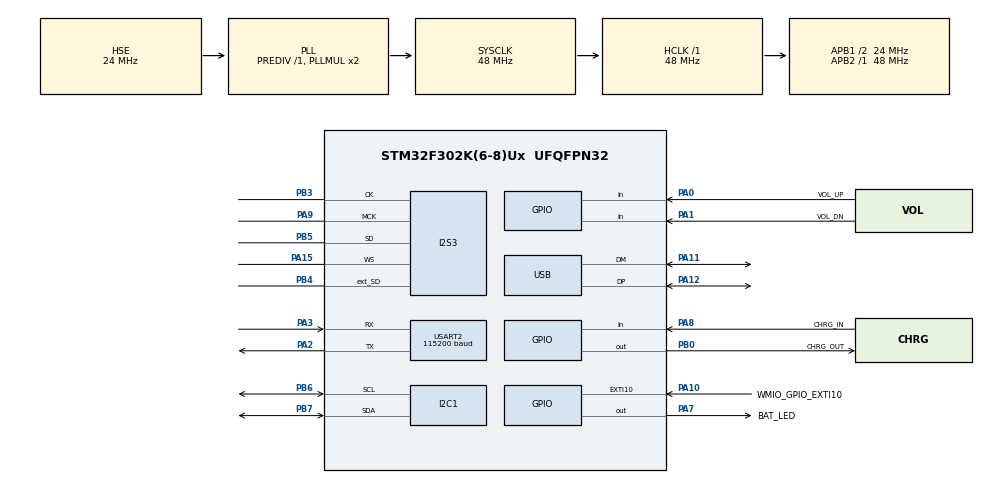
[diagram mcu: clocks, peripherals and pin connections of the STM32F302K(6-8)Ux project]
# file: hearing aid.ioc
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Dma.Request0=SPI3_RX
Dma.Request1=SPI3_TX
Dma.SPI3_RX.0.Direction=DMA_PERIPH_TO_MEMORY
Dma.SPI3_RX.0.Instance=DMA1_Channel2
Dma.SPI3_RX.0.MemDataAlignment=DMA_MDATAALIGN_WORD
Dma.SPI3_RX.0.MemInc=DMA_MINC_ENABLE
Dma.SPI3_RX.0.Mode=DMA_NORMAL
Dma.SPI3_RX.0.PeriphDataAlignment=DMA_PDATAALIGN_WORD
Dma.SPI3_RX.0.PeriphInc=DMA_PINC_DISABLE
Dma.SPI3_RX.0.Priority=DMA_PRIORITY_VERY_HIGH
Dma.SPI3_TX.1.Direction=DMA_MEMORY_TO_PERIPH
Dma.SPI3_TX.1.Instance=DMA1_Channel3
Dma.SPI3_TX.1.MemDataAlignment=DMA_MDATAALIGN_WORD
Dma.SPI3_TX.1.MemInc=DMA_MINC_ENABLE
Dma.SPI3_TX.1.Mode=DMA_NORMAL
Dma.SPI3_TX.1.PeriphDataAlignment=DMA_PDATAALIGN_WORD
Dma.SPI3_TX.1.PeriphInc=DMA_PINC_DISABLE
Dma.SPI3_TX.1.Priority=DMA_PRIORITY_VERY_HIGH
FREERTOS.INCLUDE_xTaskGetCurrentTaskHandle=0
FREERTOS.INCLUDE_xTaskGetHandle=1
FREERTOS.Tasks01=defaultTask,0,128,StartDefaultTask,Default,NULL,Dynamic,NULL,NULL
FREERTOS.configCHECK_FOR_STACK_OVERFLOW=1
FREERTOS.configMAX_PRIORITIES=10
FREERTOS.configUSE_IDLE_HOOK=1
FREERTOS.configUSE_TICKLESS_IDLE=1
FREERTOS.configUSE_TIMERS=0
I2C1.OwnAddress=0x1A
I2C1.Timing=0x2000090E
I2S3.AudioFreq=I2S_AUDIOFREQ_48K
I2S3.DataFormat=I2S_DATAFORMAT_32B
I2S3.ErrorAudioFreq=-2.34 %
I2S3.FullDuplexMode=I2S_FULLDUPLEXMODE_ENABLE
I2S3.Instance=SPI$Index
I2S3.MCLKOutput=I2S_MCLKOUTPUT_ENABLE
I2S3.Mode=I2S_MODE_MASTER_RX
I2S3.RealAudioFreq=46.875 KHz
I2S3.VirtualMode=I2S_MODE_MASTER
Mcu.Family=STM32F3
Mcu.Name=STM32F302K(6-8)Ux
Mcu.Package=UFQFPN32
NVIC.DMA1_Channel2_IRQn=true\:8\:0\:true\:false\:true\:true
NVIC.DMA1_Channel3_IRQn=true\:8\:0\:true\:false\:true\:true
NVIC.PriorityGroup=NVIC_PRIORITYGROUP_4
NVIC.USB_LP_CAN_RX0_IRQn=true\:10\:0\:true\:false\:true\:true
PA0.GPIO_Label=VOL_UP
PA0.GPIO_Mode=GPIO_MODE_INPUT
PA0.GPIO_PuPd=GPIO_PULLUP
PA0.Signal=GPIO_Input
PA1.GPIO_Label=VOL_DN
PA1.GPIO_Mode=GPIO_MODE_INPUT
PA1.GPIO_PuPd=GPIO_PULLUP
PA1.Signal=GPIO_Input
PA10.GPIO_Label=WMIO_GPIO_EXTI10
PA10.GPIO_ModeDefaultEXTI=GPIO_MODE_IT_RISING
PA10.GPIO_PuPd=GPIO_NOPULL
PA10.Signal=GPXTI10
PA11.Mode=Device
PA11.Signal=USB_DM
PA12.Mode=Device
PA12.Signal=USB_DP
PA13.Mode=Serial_Wire
PA13.Signal=SYS_JTMS-SWDIO
PA14.Mode=Serial_Wire
PA14.Signal=SYS_JTCK-SWCLK
PA15.GPIO_Speed=GPIO_SPEED_FREQ_HIGH
PA15.Mode=Full_Duplex_Master
PA15.Signal=I2S3_WS
PA2.Mode=Asynchronous
PA2.Signal=USART2_TX
PA3.Mode=Asynchronous
PA3.Signal=USART2_RX
PA7.GPIO_Label=BAT_LED
PA7.GPIO_ModeDefaultOutputPP=GPIO_MODE_OUTPUT_PP
PA7.GPIO_PuPd=GPIO_NOPULL
PA7.GPIO_Speed=GPIO_SPEED_FREQ_LOW
PA7.PinState=GPIO_PIN_RESET
PA7.Signal=GPIO_Output
PA8.GPIO_Label=CHRG_IN
PA8.GPIO_Mode=GPIO_MODE_INPUT
PA8.GPIO_PuPd=GPIO_NOPULL
PA8.Signal=GPIO_Input
PA9.GPIO_Speed=GPIO_SPEED_FREQ_HIGH
PA9.Mode=Master_Clock_Activated
PA9.Signal=I2S3_MCK
PB0.GPIO_Label=CHRG_OUT
PB0.GPIO_ModeDefaultOutputPP=GPIO_MODE_OUTPUT_PP
PB0.GPIO_PuPd=GPIO_NOPULL
PB0.GPIO_Speed=GPIO_SPEED_FREQ_LOW
PB0.PinState=GPIO_PIN_SET
PB0.Signal=GPIO_Output
PB3.GPIO_Speed=GPIO_SPEED_FREQ_HIGH
PB3.Mode=Full_Duplex_Master
PB3.Signal=I2S3_CK
PB4.GPIO_Speed=GPIO_SPEED_FREQ_HIGH
PB4.Mode=Full_Duplex_Master
PB4.Signal=I2S3_ext_SD
PB5.GPIO_Speed=GPIO_SPEED_FREQ_HIGH
PB5.Mode=Full_Duplex_Master
PB5.Signal=I2S3_SD
PB6.GPIO_FM6=SYSCFG_CFGR1_I2C_PB6_FMP
PB6.Mode=I2C
PB6.Signal=I2C1_SCL
PB7.GPIO_FM7=SYSCFG_CFGR1_I2C_PB7_FMP
PB7.Mode=I2C
PB7.Signal=I2C1_SDA
PF0-OSC_IN.Mode=HSE-External-Oscillator
PF0-OSC_IN.Signal=RCC_OSC_IN
PF1-OSC_OUT.Mode=HSE-External-Oscillator
PF1-OSC_OUT.Signal=RCC_OSC_OUT
ProjectManager.HeapSize=0x200
ProjectManager.StackSize=0x400
ProjectManager.TargetToolchain=MDK-ARM V5
RCC.AHBFreq_Value=48000000
RCC.APB1CLKDivider=RCC_HCLK_DIV2
RCC.APB1Freq_Value=24000000
RCC.APB1TimFreq_Value=48000000
RCC.APB2Freq_Value=48000000
RCC.APB2TimFreq_Value=48000000
RCC.CortexFreq_Value=48000000
RCC.HCLKFreq_Value=48000000
RCC.HSE_VALUE=24000000
RCC.HSI_VALUE=8000000
RCC.SYSCLKFreq_VALUE=48000000
RCC.SYSCLKSourceVirtual=RCC_SYSCLKSOURCE_PLLCLK
RCC.USBFreq_Value=48000000
RCC.VDD_VALUE=3.3
USART2.BaudRate=115200
USART2.VirtualMode-Asynchronous=VM_ASYNC
USART2.WordLength=WORDLENGTH_8B
USB_DEVICE.CLASS_NAME_FS=DFU
USB_DEVICE.VirtualMode=Dfu
USB_DEVICE.VirtualModeFS=Dfu_FS
VP_CRC_VS_CRC.Mode=CRC_Activate
VP_FREERTOS_VS_ENABLE.Mode=Enabled
VP_IWDG_VS_IWDG.Mode=IWDG_Activate
VP_USB_DEVICE_VS_USB_DEVICE_DFU_FS.Mode=DFU_FS
board=hearing aid

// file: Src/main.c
/**
  ******************************************************************************
  * File Name          : main.c
  * Description        : Main program body
  ******************************************************************************
  * This notice applies to any and all portions of this file
  * that are not between comment pairs USER CODE BEGIN and
  * USER CODE END. Other portions of this file, whether
  * inserted by the user or by software development tools
  * are owned by their respective copyright owners.
  *
  * Copyright (c) 2017 STMicroelectronics International N.V.
  * All rights reserved.
  *
  * Redistribution and use in source and binary forms, with or without
  * modification, are permitted, provided that the following conditions are met:
  *
  * 1. Redistribution of source code must retain the above copyright notice,
  *    this list of conditions and the following disclaimer.
  * 2. Redistributions in binary form must reproduce the above copyright notice,
  *    this list of conditions and the following disclaimer in the documentation
  *    and/or other materials provided with the distribution.
  * 3. Neither the name of STMicroelectronics nor the names of other
  *    contributors to this software may be used to endorse or promote products
  *    derived from this software without specific written permission.
  * 4. This software, including modifications and/or derivative works of this
  *    software, must execute solely and exclusively on microcontroller or
  *    microprocessor devices manufactured by or for STMicroelectronics.
  * 5. Redistribution and use of this software other than as permitted under
  *    this license is void and will automatically terminate your rights under
  *    this license.
  *
  * THIS SOFTWARE IS PROVIDED BY STMICROELECTRONICS AND CONTRIBUTORS "AS IS"
  * AND ANY EXPRESS, IMPLIED OR STATUTORY WARRANTIES, INCLUDING, BUT NOT
  * LIMITED TO, THE IMPLIED WARRANTIES OF MERCHANTABILITY, FITNESS FOR A
  * PARTICULAR PURPOSE AND NON-INFRINGEMENT OF THIRD PARTY INTELLECTUAL PROPERTY
  * RIGHTS ARE DISCLAIMED TO THE FULLEST EXTENT PERMITTED BY LAW. IN NO EVENT
  * SHALL STMICROELECTRONICS OR CONTRIBUTORS BE LIABLE FOR ANY DIRECT, INDIRECT,
  * INCIDENTAL, SPECIAL, EXEMPLARY, OR CONSEQUENTIAL DAMAGES (INCLUDING, BUT NOT
  * LIMITED TO, PROCUREMENT OF SUBSTITUTE GOODS OR SERVICES; LOSS OF USE, DATA,
  * OR PROFITS; OR BUSINESS INTERRUPTION) HOWEVER CAUSED AND ON ANY THEORY OF
  * LIABILITY, WHETHER IN CONTRACT, STRICT LIABILITY, OR TORT (INCLUDING
  * NEGLIGENCE OR OTHERWISE) ARISING IN ANY WAY OUT OF THE USE OF THIS SOFTWARE,
  * EVEN IF ADVISED OF THE POSSIBILITY OF SUCH DAMAGE.
  *
  ******************************************************************************
  */
#include "main.h"
#include "stm32f3xx_hal.h"
#include "cmsis_os.h"
#include "crc.h"
#include "dma.h"
#include "i2c.h"
#include "i2s.h"
#include "iwdg.h"
#include "usart.h"
#include "usb_device.h"
#include "gpio.h"

/* USER CODE BEGIN Includes */
#include "wm8974_audio.h"
/* USER CODE END Includes */

/* USER CODE BEGIN PV */
/* Private variables ---------------------------------------------------------*/

/* USER CODE END PV */

void SystemClock_Config(void);
void MX_FREERTOS_Init(void);

/* USER CODE BEGIN PFP */
/* Private function prototypes -----------------------------------------------*/

/* USER CODE END PFP */

int main(void)
{

  /* MCU Configuration----------------------------------------------------------*/

  /* Reset of all peripherals, Initializes the Flash interface and the Systick. */
  HAL_Init();

  /* Configure the system clock */
  SystemClock_Config();

  /* Initialize all configured peripherals */
  MX_GPIO_Init();
  MX_DMA_Init();
  MX_I2S3_Init();
  MX_USART2_UART_Init();
  MX_I2C1_Init();
  MX_IWDG_Init();  // Note: Need to refresh the iwdg

  /* USER CODE BEGIN 2 */
#define TEST_WM8974     1
#if TEST_WM8974
  wmAudioInit(g_wm8974InitCtrlWordArr, getCtrlWordArrSize());
  wm89xx_ctrlWord_t wmTemp;
/*
  wmTemp = wmGetCtrlWord(2);
  wmTemp.value &= ~(1 << 0); // ADCEN disable
  wmSetOneCtrlWord(&wmTemp);

  wmTemp = wmGetCtrlWord(3);
  wmTemp.value &= ~(1 << 0); // DACEN disable
  wmSetOneCtrlWord(&wmTemp);
*/

  wmTemp = wmGetCtrlWord(2);
  wmTemp.value |= (1 << 4); // Input BOOSTEN enable
  wmSetOneCtrlWord(&wmTemp);

  wmTemp = wmGetCtrlWord(47);
  wmTemp.value |= (1 << 8); // PGA output has +20dB gain through input BOOST stage
  wmSetOneCtrlWord(&wmTemp);

  wmTemp = wmGetCtrlWord(50);
  wmTemp.value = 0x0002;     // IN PGA bypass to speark output
  wmSetOneCtrlWord(&wmTemp);
#endif
  /* USER CODE END 2 */

  /* Call init function for freertos objects (in freertos.c) */
  MX_FREERTOS_Init();

  /* Start scheduler */
  osKernelStart();

  /* We should never get here as control is now taken by the scheduler */

  /* Infinite loop */
  while (1)
  {

  }

}

/** System Clock Configuration
*/
void SystemClock_Config(void)
{

  RCC_OscInitTypeDef RCC_OscInitStruct;
  RCC_ClkInitTypeDef RCC_ClkInitStruct;
  RCC_PeriphCLKInitTypeDef PeriphClkInit;

    /**Initializes the CPU, AHB and APB busses clocks
    */
  RCC_OscInitStruct.OscillatorType = RCC_OSCILLATORTYPE_HSI|RCC_OSCILLATORTYPE_LSI
                              |RCC_OSCILLATORTYPE_HSE;
  RCC_OscInitStruct.HSEState = RCC_HSE_ON;
  RCC_OscInitStruct.HSEPredivValue = RCC_HSE_PREDIV_DIV1;
  RCC_OscInitStruct.HSIState = RCC_HSI_ON;
  RCC_OscInitStruct.HSICalibrationValue = 16;
  RCC_OscInitStruct.LSIState = RCC_LSI_ON;
  RCC_OscInitStruct.PLL.PLLState = RCC_PLL_ON;
  RCC_OscInitStruct.PLL.PLLSource = RCC_PLLSOURCE_HSE;
  RCC_OscInitStruct.PLL.PLLMUL = RCC_PLL_MUL2;
  if (HAL_RCC_OscConfig(&RCC_OscInitStruct) != HAL_OK)
  {
    _Error_Handler(__FILE__, __LINE__);
  }

    /**Initializes the CPU, AHB and APB busses clocks
    */
  RCC_ClkInitStruct.ClockType = RCC_CLOCKTYPE_HCLK|RCC_CLOCKTYPE_SYSCLK
                              |RCC_CLOCKTYPE_PCLK1|RCC_CLOCKTYPE_PCLK2;
  RCC_ClkInitStruct.SYSCLKSource = RCC_SYSCLKSOURCE_PLLCLK;
  RCC_ClkInitStruct.AHBCLKDivider = RCC_SYSCLK_DIV1;
  RCC_ClkInitStruct.APB1CLKDivider = RCC_HCLK_DIV2;
  RCC_ClkInitStruct.APB2CLKDivider = RCC_HCLK_DIV1;

  if (HAL_RCC_ClockConfig(&RCC_ClkInitStruct, FLASH_LATENCY_1) != HAL_OK)
  {
    _Error_Handler(__FILE__, __LINE__);
  }

  PeriphClkInit.PeriphClockSelection = RCC_PERIPHCLK_USB|RCC_PERIPHCLK_I2C1;
  PeriphClkInit.I2c1ClockSelection = RCC_I2C1CLKSOURCE_HSI;
  PeriphClkInit.USBClockSelection = RCC_USBCLKSOURCE_PLL;
  if (HAL_RCCEx_PeriphCLKConfig(&PeriphClkInit) != HAL_OK)
  {
    _Error_Handler(__FILE__, __LINE__);
  }

    /**Configure the Systick interrupt time
    */
  HAL_SYSTICK_Config(HAL_RCC_GetHCLKFreq()/1000);

    /**Configure the Systick
    */
  HAL_SYSTICK_CLKSourceConfig(SYSTICK_CLKSOURCE_HCLK);

  /* SysTick_IRQn interrupt configuration */
  HAL_NVIC_SetPriority(SysTick_IRQn, 15, 0);
}

void _Error_Handler(char * file, int line)
{
  while(1)
  {
  }
}

/************************ (C) COPYRIGHT STMicroelectronics *****END OF FILE****/

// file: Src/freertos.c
/**
  ******************************************************************************
  * File Name          : freertos.c
  * Description        : Code for freertos applications
  ******************************************************************************
  * This notice applies to any and all portions of this file
  * that are not between comment pairs USER CODE BEGIN and
  * USER CODE END. Other portions of this file, whether
  * inserted by the user or by software development tools
  * are owned by their respective copyright owners.
  *
  * Copyright (c) 2017 STMicroelectronics International N.V.
  * All rights reserved.
  *
  * Redistribution and use in source and binary forms, with or without
  * modification, are permitted, provided that the following conditions are met:
  *
  * 1. Redistribution of source code must retain the above copyright notice,
  *    this list of conditions and the following disclaimer.
  * 2. Redistributions in binary form must reproduce the above copyright notice,
  *    this list of conditions and the following disclaimer in the documentation
  *    and/or other materials provided with the distribution.
  * 3. Neither the name of STMicroelectronics nor the names of other
  *    contributors to this software may be used to endorse or promote products
  *    derived from this software without specific written permission.
  * 4. This software, including modifications and/or derivative works of this
  *    software, must execute solely and exclusively on microcontroller or
  *    microprocessor devices manufactured by or for STMicroelectronics.
  * 5. Redistribution and use of this software other than as permitted under
  *    this license is void and will automatically terminate your rights under
  *    this license.
  *
  * THIS SOFTWARE IS PROVIDED BY STMICROELECTRONICS AND CONTRIBUTORS "AS IS"
  * AND ANY EXPRESS, IMPLIED OR STATUTORY WARRANTIES, INCLUDING, BUT NOT
  * LIMITED TO, THE IMPLIED WARRANTIES OF MERCHANTABILITY, FITNESS FOR A
  * PARTICULAR PURPOSE AND NON-INFRINGEMENT OF THIRD PARTY INTELLECTUAL PROPERTY
  * RIGHTS ARE DISCLAIMED TO THE FULLEST EXTENT PERMITTED BY LAW. IN NO EVENT
  * SHALL STMICROELECTRONICS OR CONTRIBUTORS BE LIABLE FOR ANY DIRECT, INDIRECT,
  * INCIDENTAL, SPECIAL, EXEMPLARY, OR CONSEQUENTIAL DAMAGES (INCLUDING, BUT NOT
  * LIMITED TO, PROCUREMENT OF SUBSTITUTE GOODS OR SERVICES; LOSS OF USE, DATA,
  * OR PROFITS; OR BUSINESS INTERRUPTION) HOWEVER CAUSED AND ON ANY THEORY OF
  * LIABILITY, WHETHER IN CONTRACT, STRICT LIABILITY, OR TORT (INCLUDING
  * NEGLIGENCE OR OTHERWISE) ARISING IN ANY WAY OUT OF THE USE OF THIS SOFTWARE,
  * EVEN IF ADVISED OF THE POSSIBILITY OF SUCH DAMAGE.
  *
  ******************************************************************************
  */

#include "FreeRTOS.h"
#include "task.h"
#include "cmsis_os.h"

/* USER CODE BEGIN Includes */
#include "keys.h"
#include "batLed.h"
#include "iwdg.h"
/* USER CODE END Includes */

osThreadId defaultTaskHandle;

void StartDefaultTask(void const * argument);

extern void MX_USB_DEVICE_Init(void);
void MX_FREERTOS_Init(void); /* (MISRA C 2004 rule 8.1) */

/* Pre/Post sleep processing prototypes */
void PreSleepProcessing(uint32_t *ulExpectedIdleTime);
void PostSleepProcessing(uint32_t *ulExpectedIdleTime);

/* Hook prototypes */
void vApplicationIdleHook(void);
void vApplicationStackOverflowHook(xTaskHandle xTask, signed char *pcTaskName);

/* USER CODE BEGIN 2 */
__weak void vApplicationIdleHook( void )
{
   /* vApplicationIdleHook() will only be called if configUSE_IDLE_HOOK is set
   to 1 in FreeRTOSConfig.h. It will be called on each iteration of the idle
   task. It is essential that code added to this hook function never attempts
   to block in any way (for example, call xQueueReceive() with a block time
   specified, or call vTaskDelay()). If the application makes use of the
   vTaskDelete() API function (as this demo application does) then it is also
   important that vApplicationIdleHook() is permitted to return to its calling
   function, because it is the responsibility of the idle task to clean up
   memory allocated by the kernel to any task that has since been deleted. */
}
/* USER CODE END 2 */

/* USER CODE BEGIN 4 */
__weak void vApplicationStackOverflowHook(xTaskHandle xTask, signed char *pcTaskName)
{
   /* Run time stack overflow checking is performed if
   configCHECK_FOR_STACK_OVERFLOW is defined to 1 or 2. This hook function is
   called if a stack overflow is detected. */
}
/* USER CODE END 4 */

/* USER CODE BEGIN PREPOSTSLEEP */
__weak void PreSleepProcessing(uint32_t *ulExpectedIdleTime)
{
/* place for user code */
}

__weak void PostSleepProcessing(uint32_t *ulExpectedIdleTime)
{
/* place for user code */
}
/* USER CODE END PREPOSTSLEEP */

/* Init FreeRTOS */

void MX_FREERTOS_Init(void) {

  /* Create the thread(s) */
  /* definition and creation of defaultTask */
  osThreadDef(defaultTask, StartDefaultTask, osPriorityLow, 0, 128); /* Priority is 1 */
  defaultTaskHandle = osThreadCreate(osThread(defaultTask), NULL);

  /* USER CODE BEGIN RTOS_THREADS */
  /* add threads, ... */
	keysTaskInit();			/* Priority is 1, periodic, 70ms */
	batterTaskInit();		/* Priority is 2, periodic, 10ms */
  /* USER CODE END RTOS_THREADS */

}

/* StartDefaultTask function */
void StartDefaultTask(void const * argument)
{
  /* init code for USB_DEVICE */
  MX_USB_DEVICE_Init();

  /* USER CODE BEGIN StartDefaultTask */
  /* Infinite loop */
  for(;;)
  {
    //osDelay(1);
      HAL_IWDG_Refresh(&hiwdg);
      __wfe();	// mcu is go to sleep and wait for wake up by interrupt or OS event
  }
  /* USER CODE END StartDefaultTask */
}

/************************ (C) COPYRIGHT STMicroelectronics *****END OF FILE****/
